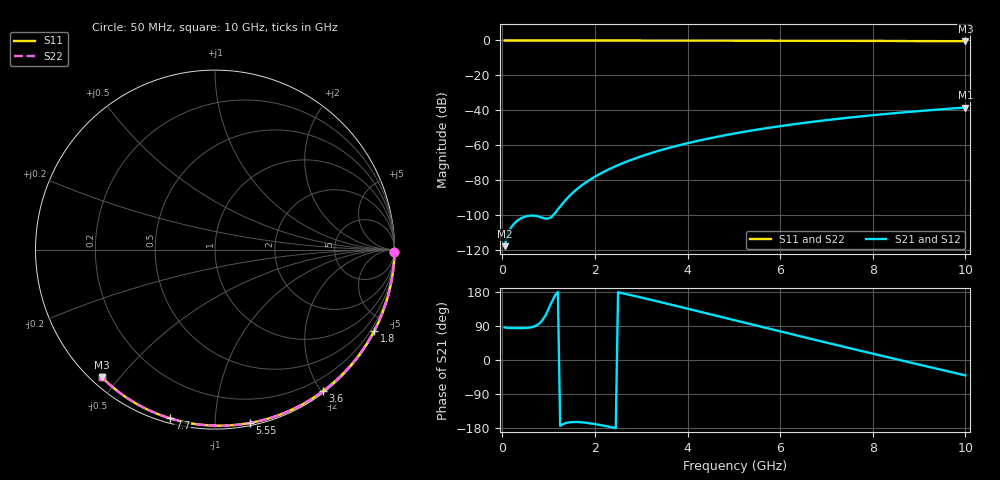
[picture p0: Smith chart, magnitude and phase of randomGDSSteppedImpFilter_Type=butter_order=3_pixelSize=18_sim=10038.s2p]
! freq	dB(S11)	phase(S11)	dB(S12)	phase(S12)
!  dB(S21)	phase(S21)	dB(S22)	phase(S22)
!S-par simulation data
#  GHz  S  DB  R 50
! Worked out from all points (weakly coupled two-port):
!   200 points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, 50 MHz to 10 GHz, reference 50 ohm
!   highest |S21| = -38.43 dB at 10 GHz (marker M1); lowest = -117.8 dB at 50 MHz (marker M2)
!   lowest |S11| = -0.4 dB at 10 GHz (marker M3), VSWR 39.10, Z = 1.54 - j22.5 ohm
!   |S11| at or under -10 dB: nowhere
!   |S22| runs from -0.4 to 0.0 dB; largest |S21 - S12| = 0
!   S11 on the Smith chart (normalised r, x): 50 MHz: open; 1.8 GHz: 0.04, -4.17; 3.6 GHz: 0.02, -2.02; 5.55 GHz: 0.02, -1.22; 7.7 GHz: 0.02, -0.77; 10 GHz: 0.03, -0.45
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0.05  -0.00 -0.8  -117.85 86.2  -117.85 86.2  -0.00 -0.8
0.9  -0.02 -13.6  -101.87 111.4  -101.87 111.4  -0.02 -13.6
1.75  -0.03 -26.2  -82.34 -164.8  -82.34 -164.8  -0.03 -26.2
1.8  -0.03 -26.9  -81.40 -165.5  -81.40 -165.5  -0.03 -26.9
1.85  -0.04 -27.7  -80.51 -166.3  -80.51 -166.3  -0.04 -27.7
1.9  -0.04 -28.4  -79.66 -167.2  -79.66 -167.2  -0.04 -28.4
2.05  -0.04 -30.6  -77.28 -170.2  -77.28 -170.2  -0.04 -30.6
2.25  -0.04 -33.5  -74.48 -174.8  -74.48 -174.8  -0.04 -33.5
2.45  -0.05 -36.4  -72.01 -179.9  -72.01 -179.9  -0.05 -36.4
2.65  -0.05 -39.3  -69.78 174.7  -69.78 174.7  -0.05 -39.3
3  -0.06 -44.3  -66.38 164.9  -66.38 164.9  -0.06 -44.3
3.4  -0.07 -49.9  -63.04 153.3  -63.04 153.3  -0.07 -49.9
3.6  -0.07 -52.7  -61.55 147.4  -61.55 147.4  -0.07 -52.7
4.3  -0.09 -62.3  -57.04 126.5  -57.04 126.5  -0.09 -62.2
5.05  -0.11 -72.2  -53.11 104.0  -53.11 104.0  -0.11 -72.2
5.55  -0.13 -78.7  -50.88 89.0  -50.88 89.0  -0.13 -78.7
6.1  -0.15 -85.7  -48.70 72.5  -48.70 72.5  -0.15 -85.6
6.7  -0.18 -93.1  -46.60 54.7  -46.60 54.7  -0.18 -93.0
7.7  -0.24 -105.1  -43.61 25.4  -43.61 25.4  -0.24 -105.0
8.35  -0.29 -112.7  -41.94 6.5  -41.94 6.5  -0.29 -112.6
9.15  -0.36 -121.9  -40.12 -16.4  -40.12 -16.4  -0.36 -121.8
10  -0.44 -131.5  -38.43 -40.6  -38.43 -40.6  -0.44 -131.4
